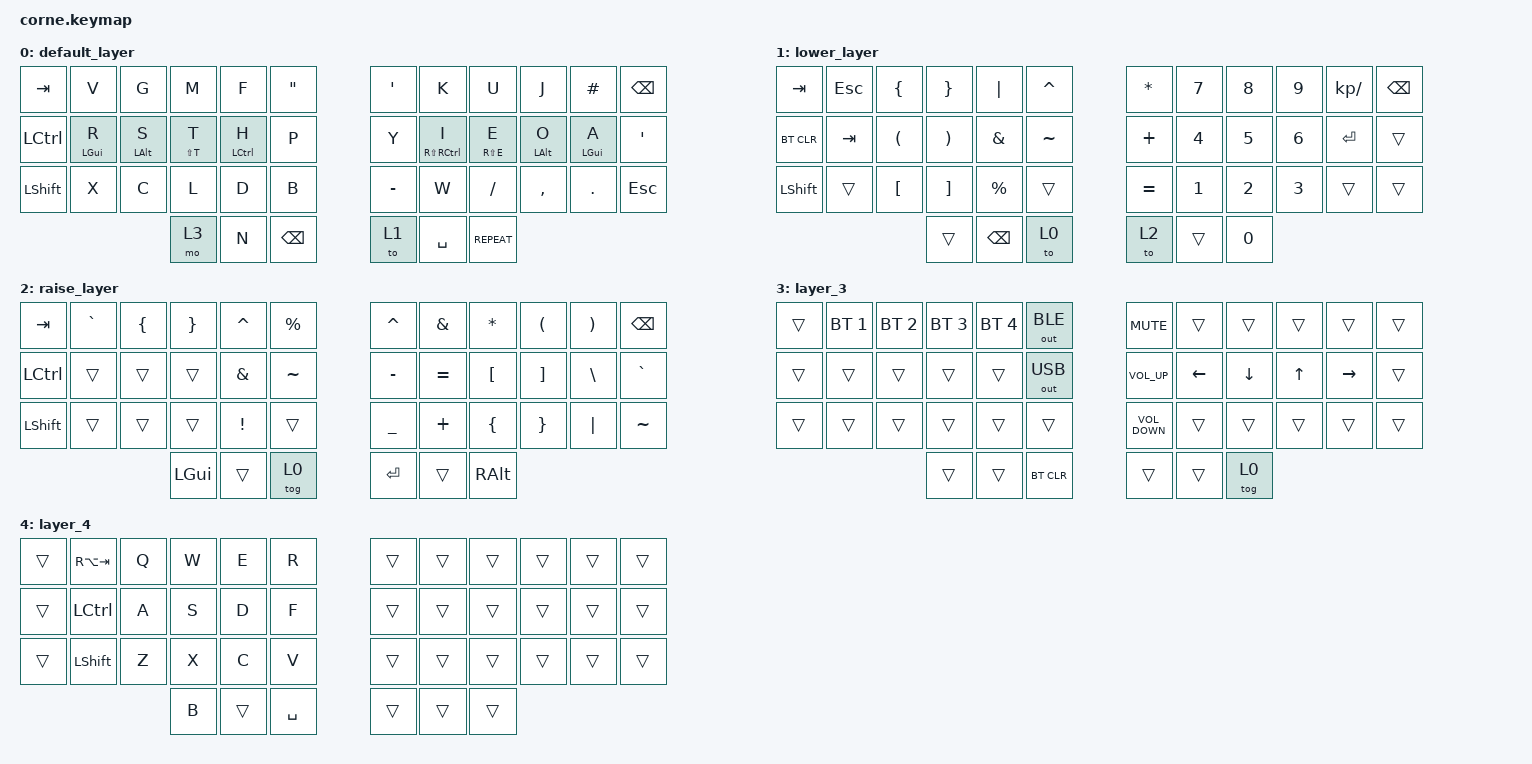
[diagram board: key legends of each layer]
/*
 * Copyright (c) 2020 The ZMK Contributors
 *
 * SPDX-License-Identifier: MIT
 */

#include <behaviors.dtsi>
#include <dt-bindings/zmk/bt.h>
#include <dt-bindings/zmk/keys.h>
#include <dt-bindings/zmk/outputs.h>

/ {
    combos {
        compatible = "zmk,combos";

        Q-Combo {
            bindings = <&kp Q>;
            key-positions = <7 8>;
            layers = <0>;
        };

        Z-Combo {
            bindings = <&kp Z>;
            key-positions = <8 9>;
            layers = <0>;
        };

        AtSign-Combo {
            bindings = <&kp AT_SIGN>;
            key-positions = <9 10>;
        };

        QuestionMark-Combo {
            bindings = <&kp QUESTION>;
            key-positions = <31 34>;
        };

        BackSlash-Combo {
            bindings = <&kp NON_US_BACKSLASH>;
            key-positions = <31 32>;
        };

        SemiColon-Combo {
            bindings = <&kp SEMICOLON>;
            key-positions = <32 33>;
        };

        Colon {
            bindings = <&kp COLON>;
            key-positions = <33 34>;
        };

        ExclamationMark-Combo {
            bindings = <&kp EXCLAMATION>;
            key-positions = <32 34>;
        };

        CapsLock-Combo {
            bindings = <&kp CAPS>;
            key-positions = <15 20>;
        };

        ToGamingLayer {
            bindings = <&to 4>;
            key-positions = <7 9 10>;
        };

        BackToHomeLayer {
            bindings = <&to 0>;
            key-positions = <38 39>;
        };
    };

    keymap {
        compatible = "zmk,keymap";

        default_layer {
            // -----------------------------------------------------------------------------------------
            // |  TAB |  Q  |  W  |  E  |  R  |  T  |   |  Y  |  U   |  I  |  O  |  P  | BSPC |
            // | CTRL |  A  |  S  |  D  |  F  |  G  |   |  H  |  J   |  K  |  L  |  ;  |  '   |
            // | SHFT |  Z  |  X  |  C  |  V  |  B  |   |  N  |  M   |  ,  |  .  |  /  | ESC  |
            //                    | GUI | LWR | SPC |   | ENT | RSE  | ALT |

            bindings = <
&kp TAB    &kp V           &kp G           &kp M        &kp F        &kp DOUBLE_QUOTES    &kp SQT    &kp K            &kp U         &kp J           &kp HASH        &kp BSPC
&kp LCTRL  &mt LEFT_GUI R  &mt LEFT_ALT S  &mt LS(T) T  &mt LCTRL H  &kp P                &kp Y      &mt RS(RCTRL) I  &mt RS(E) E   &mt LEFT_ALT O  &mt LEFT_GUI A  &kp SQT
&kp LSHFT  &kp X           &kp C           &kp L        &kp D        &kp B                &kp MINUS  &kp W            &kp SLASH     &kp COMMA       &kp DOT         &kp ESC
                                           &mo 3        &kp N        &kp BACKSPACE        &to 1      &kp SPACE        &kp C_REPEAT
            >;
        };

        lower_layer {
            // -----------------------------------------------------------------------------------------
            // |  TAB |  1  |  2  |  3  |  4  |  5  |   |  6  |  7  |  8  |  9  |  0  | BSPC |
            // | BTCLR| BT1 | BT2 | BT3 | BT4 | BT5 |   | LFT | DWN |  UP | RGT |     |      |
            // | SHFT |     |     |     |     |     |   |     |     |     |     |     |      |
            //                    | GUI |     | SPC |   | ENT |     | ALT |

            bindings = <
&kp TAB     &kp ESCAPE  &kp LEFT_BRACE        &kp RIGHT_BRACE        &kp PIPE       &kp CARET    &kp ASTERISK  &kp N7        &kp N8        &kp N9        &kp KP_DIVIDE  &kp BSPC
&bt BT_CLR  &kp TAB     &kp LEFT_PARENTHESIS  &kp RIGHT_PARENTHESIS  &kp AMPERSAND  &kp TILDE    &kp PLUS      &kp NUMBER_4  &kp N5        &kp NUMBER_6  &kp ENTER      &trans
&kp LSHFT   &trans      &kp LEFT_BRACKET      &kp RIGHT_BRACKET      &kp PERCENT    &trans       &kp EQUAL     &kp NUMBER_1  &kp NUMBER_2  &kp NUMBER_3  &trans         &trans
                                              &trans                 &kp BACKSPACE  &to 0        &to 2         &trans        &kp N0
            >;
        };

        raise_layer {
            // -----------------------------------------------------------------------------------------
            // |  TAB |  !  |  @  |  #  |  $  |  %  |   |  ^  |  &  |  *  |  (  |  )  | BSPC |
            // | CTRL |     |     |     |     |     |   |  -  |  =  |  [  |  ]  |  \  |  `   |
            // | SHFT |     |     |     |     |     |   |  _  |  +  |  {  |  }  | "|" |  ~   |
            //                    | GUI |     | SPC |   | ENT |     | ALT |

            bindings = <
&kp TAB    &kp GRAVE  &kp LEFT_BRACE  &kp RIGHT_BRACE  &kp CARET        &kp PRCNT    &kp CARET  &kp AMPS   &kp ASTRK  &kp LPAR  &kp RPAR  &kp BSPC
&kp LCTRL  &trans     &trans          &trans           &kp AMPERSAND    &kp TILDE    &kp MINUS  &kp EQUAL  &kp LBKT   &kp RBKT  &kp BSLH  &kp GRAVE
&kp LSHFT  &trans     &trans          &trans           &kp EXCLAMATION  &trans       &kp UNDER  &kp PLUS   &kp LBRC   &kp RBRC  &kp PIPE  &kp TILDE
                                      &kp LGUI         &trans           &tog 0       &kp RET    &trans     &kp RALT
            >;
        };

        layer_3 {
            bindings = <
&trans  &bt BT_SEL 1  &bt BT_SEL 2  &bt BT_SEL 3  &bt BT_SEL 4  &out OUT_BLE    &kp K_MUTE         &trans    &trans          &trans        &trans     &trans
&trans  &trans        &trans        &trans        &trans        &out OUT_USB    &kp C_VOLUME_UP    &kp LEFT  &kp DOWN_ARROW  &kp UP_ARROW  &kp RIGHT  &trans
&trans  &trans        &trans        &trans        &trans        &trans          &kp C_VOLUME_DOWN  &trans    &trans          &trans        &trans     &trans
                                    &trans        &trans        &bt BT_CLR      &trans             &trans    &tog 0
            >;
        };

        layer_4 {
            bindings = <
&trans  &kp RA(TAB)     &kp Q  &kp W  &kp E   &kp R        &trans  &trans  &trans  &trans  &trans  &trans
&trans  &kp LCTRL       &kp A  &kp S  &kp D   &kp F        &trans  &trans  &trans  &trans  &trans  &trans
&trans  &kp LEFT_SHIFT  &kp Z  &kp X  &kp C   &kp V        &trans  &trans  &trans  &trans  &trans  &trans
                               &kp B  &trans  &kp SPACE    &trans  &trans  &trans
            >;
        };
    };
};
